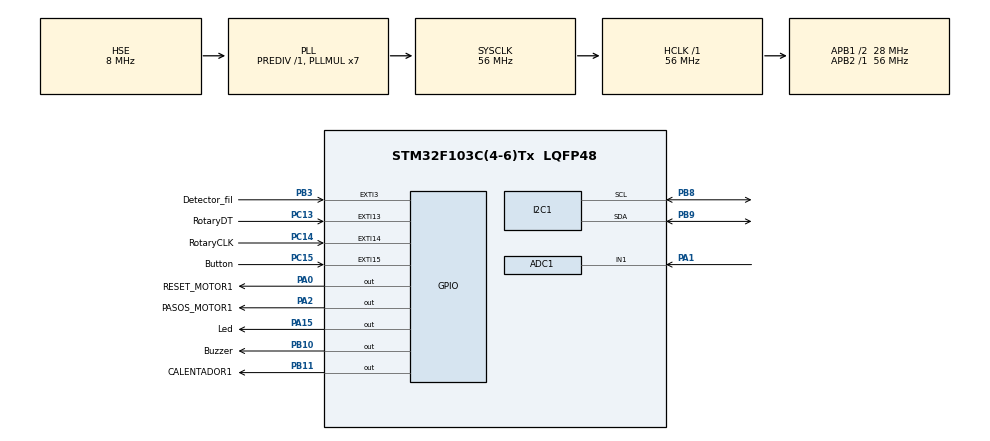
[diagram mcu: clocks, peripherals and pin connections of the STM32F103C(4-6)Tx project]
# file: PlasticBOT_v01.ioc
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Mcu.Family=STM32F1
RCC.PLLSourceVirtual=RCC_PLLSOURCE_HSE
Dma.ADC1.0.Instance=DMA1_Channel1
ADC1.Rank-0\#ChannelRegularConversion=1
PD1-OSC_OUT.Mode=HSE-External-Oscillator
PB11.GPIO_Label=CALENTADOR1
NVIC.EXTI3_IRQn=true\:0\:0\:false\:false\:true\:true\:true
PC13-TAMPER-RTC.Signal=GPXTI13
PD0-OSC_IN.Signal=RCC_OSC_IN
PB3.GPIO_ModeDefaultEXTI=GPIO_MODE_IT_RISING_FALLING
RCC.APB1CLKDivider=RCC_HCLK_DIV2
PC14-OSC32_IN.Signal=GPXTI14
PB11.Signal=GPIO_Output
PC15-OSC32_OUT.GPIO_Label=Button
RCC.SYSCLKSource=RCC_SYSCLKSOURCE_PLLCLK
ProjectManager.StackSize=0x400
PA0-WKUP.GPIO_Label=RESET_MOTOR1
PA0-WKUP.Signal=GPIO_Output
PD1-OSC_OUT.Signal=RCC_OSC_OUT
RCC.ADCPresc=RCC_ADCPCLK2_DIV4
PA13.Signal=SYS_JTMS-SWDIO
PA15.GPIO_Label=Led
Dma.ADC1.0.PeriphDataAlignment=DMA_PDATAALIGN_WORD
ProjectManager.TargetToolchain=STM32CubeIDE
PB10.GPIO_Label=Buzzer
Dma.ADC1.0.Mode=DMA_CIRCULAR
RCC.HCLKFreq_Value=56000000
PB9.Mode=I2C
Dma.ADC1.0.Priority=DMA_PRIORITY_LOW
RCC.APB2TimFreq_Value=56000000
Dma.ADC1.0.Direction=DMA_PERIPH_TO_MEMORY
RCC.USBFreq_Value=56000000
PC15-OSC32_OUT.Signal=GPXTI15
Dma.ADC1.0.MemDataAlignment=DMA_MDATAALIGN_WORD
PA1.Signal=ADCx_IN1
RCC.AHBFreq_Value=56000000
PD0-OSC_IN.Mode=HSE-External-Oscillator
PB10.Signal=GPIO_Output
NVIC.EXTI15_10_IRQn=true\:1\:0\:true\:false\:true\:true\:true
ADC1.Channel-0\#ChannelRegularConversion=ADC_CHANNEL_1
board=custom
PC13-TAMPER-RTC.GPIO_Label=RotaryDT
RCC.PLLMUL=RCC_PLL_MUL7
RCC.APB2Freq_Value=56000000
VP_TIM2_VS_ClockSourceINT.Mode=Internal
PA14.Mode=Serial_Wire
Dma.ADC1.0.PeriphInc=DMA_PINC_DISABLE
NVIC.TIM2_IRQn=true\:0\:0\:false\:false\:true\:true\:true
TIM2.Period=7-1
PA13.Mode=Serial_Wire
Mcu.Name=STM32F103C(4-6)Tx
ADC1.SamplingTime-0\#ChannelRegularConversion=ADC_SAMPLETIME_1CYCLE_5
PA2.Signal=GPIO_Output
PB3.Signal=GPXTI3
RCC.SYSCLKFreq_VALUE=56000000
Mcu.Package=LQFP48
PB9.Signal=I2C1_SDA
TIM2.Prescaler=56000-1
ADC1.master=1
PA2.GPIO_Label=PASOS_MOTOR1
PA14.Signal=SYS_JTCK-SWCLK
Dma.ADC1.0.MemInc=DMA_MINC_ENABLE
PA15.Signal=GPIO_Output
ProjectManager.HeapSize=0x200
NVIC.PriorityGroup=NVIC_PRIORITYGROUP_4
ADC1.NbrOfConversionFlag=1
SH.ADCx_IN1.0=ADC1_IN1,IN1
PB8.Mode=I2C
RCC.APB1TimFreq_Value=56000000
PB8.Signal=I2C1_SCL
PC14-OSC32_IN.GPIO_Label=RotaryCLK
NVIC.DMA1_Channel1_IRQn=true\:0\:0\:false\:false\:true\:false\:true
Dma.Request0=ADC1
RCC.APB1Freq_Value=28000000
PB3.GPIO_Label=Detector_fil

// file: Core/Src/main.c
/* USER CODE BEGIN Header */
/**
  ******************************************************************************
  * @file           : main.c
  * @brief          : Main program body
  ******************************************************************************
  * @attention
  *
  * <h2><center>&copy; Copyright (c) 2022 STMicroelectronics.
  * All rights reserved.</center></h2>
  *
  * This software component is licensed by ST under BSD 3-Clause license,
  * the "License"; You may not use this file except in compliance with the
  * License. You may obtain a copy of the License at:
  *                        opensource.org/licenses/BSD-3-Clause
  *
  ******************************************************************************
  */
/* USER CODE END Header */
#include "main.h"

/* USER CODE BEGIN Includes */
#include "i2c-lcd.h"
#include "stdbool.h"
#include <stdint.h>
#include <stdio.h>
#include "math.h"
/* USER CODE END Includes */

/* USER CODE BEGIN PTD */

//enum Button {Ok, Left, Right, NoPressed};

//typedef enum{
//	APAGADO = 0,
//	VELOCIDAD_1 = 1,
//	VELOCIDAD_2 = 2,
//	VELOCIDAD_3 = 3,
//}vel_Col;

typedef struct PETfilConv{
	//variables de estado
	//bool 	filDetector_state;
	bool 	soundAlarm_state;
	bool 	lightAlarm_state;
	bool 	col_state;
	//variables de temp
	uint32_t currentExtTemp;
	uint32_t previousSetExtTemp;
	uint32_t setExtTemp;
	//variables de control PID
	float_t PID_p;
	float_t PID_i;
	float_t PID_d;
	float_t PID_error;
	float_t previous_error;
	float_t elapsedTime, time, timePrev;
	uint32_t factor_cor;
}PETfilConv;

/* USER CODE END PTD */

/* USER CODE BEGIN PD */
#define	CLEAR_LCD		0x01
#define LINE1_LCD 		0x80|0x00
#define LINE2_LCD		0x80|0x40
#define LINE3_LCD		0x80|0x14
#define LINE4_LCD		0x80|0x54
#define C_LINE1_LCD		0x80|0x13	// direccion para imprimir cursor en linea 1
#define XC_LINE1_LCD	0x80|0x11	// direccion para imprimir X en linea 1
#define C_LINE2_LCD		0x80|0x53	// direccion para imprimir cursor en linea 2
#define XC_LINE2_LCD	0x80|0x51	// direccion para imprimir X en linea 2
#define C_LINE3_LCD		0x80|0x27	// direccion para imprimir cursor en linea 3
#define XC_LINE3_LCD	0x80|0x25	// direccion para imprimir X en linea 3
#define C_LINE4_LCD		0x80|0x67	// direccion para imprimir cursor en linea 4
#define XC_LINE4_LCD	0x80|0x65	// direccion para imprimir X en linea 4
#define LINES			4

/* USER CODE END PD */

ADC_HandleTypeDef hadc1;
DMA_HandleTypeDef hdma_adc1;

I2C_HandleTypeDef hi2c1;

TIM_HandleTypeDef htim2;

/* USER CODE BEGIN PV */
/*
pantalla 0 - pantalla de trabajo
pantalla 11 - menu principal (parte 1)
pantalla 12 - menu principal (parte 2)
pantalla 2 - sub menu EXTRUSORES
pantalla 3 - sub menu COLECTORES fil.
pantalla 31 - sub menu selector velocidad colector fil.
pantalla 4 - sub menu ALARMAS
pantalla 5 - sub menu HISTORIAL
pantalla 6 - sub menu ACERCA DE...(parte 1)
pantalla 7 - sub menu ACERCA DE...(parte 2)
pantalla 8 - sub menu Seteo temp ExtrusorX
*/
#define pantallaWorkingScreen 				0
#define pantallaMainMenu_part1 				11
#define pantallaMainMenu_part2 				12
#define pantallaSubMenuExtrusores 			2
#define pantallaSubMenuColectoresFil 		3
#define pantallaSubMenuSelVelocidadColFil 	31
#define pantallaSubMenuAlarmas				4
#define pantallaSubMenuHistorial			5
#define pantallaSubMenuAcercaDe_part1		6
#define pantallaSubMenuAcercaDe_part2		7
#define pantallaSubmenuSetTempExt			8

#define cont_item_PrinMenu				1
#define cont_item_SubMenuExtrusores		2
#define cont_item_SubMenuColectores		3
#define cont_item_SubMenuAlarmas		4
#define cont_item_SubMenuHistorial		5
#define cont_item_SubMenuAcercaDe		6
#define cont_item_SubMenuSelVelCol		7

#define cantItemsPrinMenu 				6
#define cantItemsSubMenuExtrusores 		2
#define cantItemsSubMenuColectores 		2
#define cantItemsSubMenuAlarmas			3
#define cantItemsSubMenuHistorial		3
#define cantItemsSubMenuAcercaDe		2
#define cantItemsSubMenuSelVelCol		4
#define n_pantallas						8

//uint32_t previousTempExt = 0;
//uint32_t previousSetTempExt = 0;	//static dentro de updateDataGUI?
// uint32_t previousTick = 0;			//static dentro de ControlPID?
// uint32_t currentTick = 0;

/*
indexes[0] -> NO SE UTILIZA
indexes[1] -> Guarda Nº item seleccionado en menu principal
indexes[2] -> Guarda Nº item seleccionado en submenu Extrusores
indexes[3] -> Guarda Nº item seleccionado en submenu Colectores
indexes[4] -> Guarda Nº item seleccionado en submenu Alarmas
indexes[5] -> Guarda Nº item seleccionado en submenu Historial
indexes[6] -> Guarda Nº item seleccionado en submenu "Acerca de..."
indexes[7] -> Guarda Nº item seleccionado en submenu SelVelCol
*/

//+++++++++++++++ variables, constantes y defines de control PID +++++++++++++

#define termistorNominalRes 100000
#define termistorNominalTemp 25
#define termistorBValue 3950
#define voltageDividerResistor 100000
#define N_SAMPLES_ADC 16
#define	CLEAR_LCD	0x01

/* USER CODE END PV */

void SystemClock_Config(void);
static void MX_GPIO_Init(void);
static void MX_DMA_Init(void);
static void MX_ADC1_Init(void);
static void MX_I2C1_Init(void);
static void MX_TIM2_Init(void);
/* USER CODE BEGIN PFP */
void PetConv_Init(PETfilConv *_petFilConv);
void PresentacionLCD(void);
void updateDataGUI(uint32_t *_indexes , uint32_t *_btn , PETfilConv *_petFilConv , uint32_t *currentScreen , uint32_t *_vel_col);
void updateLCD(PETfilConv *_petFilConv , uint32_t *currentScreen);
void printScreenSettingTemp(PETfilConv *_petFilConv);
void printSettingTemp(PETfilConv *_petFilConv);
void printscreenWorking(PETfilConv *_petFilConv);
void printCurrentTemp(PETfilConv *_petFilConv);
void updateCursor(uint32_t *_indexes , PETfilConv *_petFilConv , uint32_t *currentScreen , uint32_t *_vel_col);
void printX(uint8_t i);
void printCursor(uint8_t index);
void clearAllCursor(void);
void printScreen(char *screen[]);
void clearScreen(void);
void ControlMotor(PETfilConv *_petFilConv);
float_t getTemp(void);
//void controlPID(PETfilConv *_petFilConv);
void Control_ON_OFF(PETfilConv *_petFilConv);
void ControlAlarms(bool *_sensorFil , PETfilConv *_petFilConv);
void ActivaAlarmaLuminica(void);
void ActivaAlarmaSonora(void);
void DesactivaAlarmas(void);

/* USER CODE END PFP */

/* USER CODE BEGIN 0 */

//+++++++++++ variables usadas en control PID ++++++++++++

//variables and/temp
uint32_t bufferDMA;		//static dentro de getTemp()?
uint32_t tempConv;		//static dentro de getTemp()?
uint32_t i = 0;
float_t Vsupply = 3.3;
float_t Vout;
float_t R_NTC;
float_t B_param = 3950;
float_t T0 = 298.15;
float_t Temp_K;
//float_t Temp_C;
uint32_t tempCint;

//variables control PID
//uint32_t PWM_pin;	//esta variable seria el pin por donde sale el PWM controlado
//float_t temperature_read; //esta variable vendria a ser la que guarda el resultado de getTemp()
//float_t set_temperature = 100;
//float_t PID_error = 0;
//float_t previous_error = 0;
//float_t elapsedTime, Time, timePrev;
//uint32_t PID_value = 0;
//uint32_t factor_cor = 20;

//PID constants
#define kp  9.1
#define ki  1.5		//0.3 - 0.8 - 1.5
#define kd  2.3		//1.8 - 2.3

//Rotative Encoder constants
#define NoPressed	0
#define Ok			1
#define Left		2
#define Right		3

//Motor colector constants
#define APAGADO		0
#define VELOCIDAD_1	1
#define VELOCIDAD_2 2
#define VELOCIDAD_3	3

uint32_t g_btnPressed = Ok;				//variable de control ENCODER ROTATIVO
uint32_t g_velocidad_Col1 = APAGADO;		//variable de control VELOCIDAD DE MOTOR
bool g_alarmFil = false;		//variable de control de alarma por faltante de filamento
/* USER CODE END 0 */

int main(void)
{
  /* USER CODE BEGIN 1 */
	static uint32_t previousTick = 0;
	uint32_t currentTick = 0;
	static uint32_t currentScreen = pantallaWorkingScreen;
	static PETfilConv PETfilConv1;
	static uint32_t indexes[n_pantallas] = {0,0,0,0,0,0,0,0};
  /* USER CODE END 1 */

  /* MCU Configuration--------------------------------------------------------*/

  /* Reset of all peripherals, Initializes the Flash interface and the Systick. */
  HAL_Init();

  /* Configure the system clock */
  SystemClock_Config();

  /* Initialize all configured peripherals */
  MX_GPIO_Init();
  MX_DMA_Init();
  MX_ADC1_Init();
  MX_I2C1_Init();
  MX_TIM2_Init();
  /* USER CODE BEGIN 2 */
  lcd_init();
  PresentacionLCD();
  PetConv_Init(&PETfilConv1);
  //HAL_TIM_PWM_Start(&htim1, TIM_CHANNEL_1);
  HAL_TIM_Base_Start_IT(&htim2);

  /* USER CODE END 2 */

  /* Infinite loop */
  /* USER CODE BEGIN WHILE */
  while (1)
  {

	  if(g_btnPressed != NoPressed)
	  {
		  updateDataGUI(indexes,&g_btnPressed,&PETfilConv1,&currentScreen,&g_velocidad_Col1);
		  updateLCD(&PETfilConv1,&currentScreen);
		  updateCursor(indexes,&PETfilConv1,&currentScreen,&g_velocidad_Col1);
		  g_btnPressed = NoPressed;
	  }

	  //Control_ON_OFF(&PETfilConv1);
	  ControlAlarms(&g_alarmFil,&PETfilConv1);
	  currentTick = HAL_GetTick();
	  if((currentTick - previousTick > 1000) && (currentScreen == pantallaWorkingScreen))
	  {
		  printCurrentTemp(&PETfilConv1);
		  previousTick = currentTick;
	  }

    /* USER CODE END WHILE */

  }
}

void SystemClock_Config(void)
{
  RCC_OscInitTypeDef RCC_OscInitStruct = {0};
  RCC_ClkInitTypeDef RCC_ClkInitStruct = {0};
  RCC_PeriphCLKInitTypeDef PeriphClkInit = {0};

  /** Initializes the RCC Oscillators according to the specified parameters
  * in the RCC_OscInitTypeDef structure.
  */
  RCC_OscInitStruct.OscillatorType = RCC_OSCILLATORTYPE_HSE;
  RCC_OscInitStruct.HSEState = RCC_HSE_ON;
  RCC_OscInitStruct.HSEPredivValue = RCC_HSE_PREDIV_DIV1;
  RCC_OscInitStruct.HSIState = RCC_HSI_ON;
  RCC_OscInitStruct.PLL.PLLState = RCC_PLL_ON;
  RCC_OscInitStruct.PLL.PLLSource = RCC_PLLSOURCE_HSE;
  RCC_OscInitStruct.PLL.PLLMUL = RCC_PLL_MUL7;
  if (HAL_RCC_OscConfig(&RCC_OscInitStruct) != HAL_OK)
  {
    Error_Handler();
  }
  /** Initializes the CPU, AHB and APB buses clocks
  */
  RCC_ClkInitStruct.ClockType = RCC_CLOCKTYPE_HCLK|RCC_CLOCKTYPE_SYSCLK
                              |RCC_CLOCKTYPE_PCLK1|RCC_CLOCKTYPE_PCLK2;
  RCC_ClkInitStruct.SYSCLKSource = RCC_SYSCLKSOURCE_PLLCLK;
  RCC_ClkInitStruct.AHBCLKDivider = RCC_SYSCLK_DIV1;
  RCC_ClkInitStruct.APB1CLKDivider = RCC_HCLK_DIV2;
  RCC_ClkInitStruct.APB2CLKDivider = RCC_HCLK_DIV1;

  if (HAL_RCC_ClockConfig(&RCC_ClkInitStruct, FLASH_LATENCY_2) != HAL_OK)
  {
    Error_Handler();
  }
  PeriphClkInit.PeriphClockSelection = RCC_PERIPHCLK_ADC;
  PeriphClkInit.AdcClockSelection = RCC_ADCPCLK2_DIV4;
  if (HAL_RCCEx_PeriphCLKConfig(&PeriphClkInit) != HAL_OK)
  {
    Error_Handler();
  }
}

static void MX_ADC1_Init(void)
{

  ADC_ChannelConfTypeDef sConfig = {0};

  /** Common config
  */
  hadc1.Instance = ADC1;
  hadc1.Init.ScanConvMode = ADC_SCAN_DISABLE;
  hadc1.Init.ContinuousConvMode = DISABLE;
  hadc1.Init.DiscontinuousConvMode = DISABLE;
  hadc1.Init.ExternalTrigConv = ADC_SOFTWARE_START;
  hadc1.Init.DataAlign = ADC_DATAALIGN_RIGHT;
  hadc1.Init.NbrOfConversion = 1;
  if (HAL_ADC_Init(&hadc1) != HAL_OK)
  {
    Error_Handler();
  }
  /** Configure Regular Channel
  */
  sConfig.Channel = ADC_CHANNEL_1;
  sConfig.Rank = ADC_REGULAR_RANK_1;
  sConfig.SamplingTime = ADC_SAMPLETIME_1CYCLE_5;
  if (HAL_ADC_ConfigChannel(&hadc1, &sConfig) != HAL_OK)
  {
    Error_Handler();
  }

}

static void MX_I2C1_Init(void)
{

  hi2c1.Instance = I2C1;
  hi2c1.Init.ClockSpeed = 100000;
  hi2c1.Init.DutyCycle = I2C_DUTYCYCLE_2;
  hi2c1.Init.OwnAddress1 = 0;
  hi2c1.Init.AddressingMode = I2C_ADDRESSINGMODE_7BIT;
  hi2c1.Init.DualAddressMode = I2C_DUALADDRESS_DISABLE;
  hi2c1.Init.OwnAddress2 = 0;
  hi2c1.Init.GeneralCallMode = I2C_GENERALCALL_DISABLE;
  hi2c1.Init.NoStretchMode = I2C_NOSTRETCH_DISABLE;
  if (HAL_I2C_Init(&hi2c1) != HAL_OK)
  {
    Error_Handler();
  }

}

static void MX_TIM2_Init(void)
{

  TIM_ClockConfigTypeDef sClockSourceConfig = {0};
  TIM_MasterConfigTypeDef sMasterConfig = {0};

  htim2.Instance = TIM2;
  htim2.Init.Prescaler = 56000-1;
  htim2.Init.CounterMode = TIM_COUNTERMODE_UP;
  htim2.Init.Period = 7-1;
  htim2.Init.ClockDivision = TIM_CLOCKDIVISION_DIV1;
  htim2.Init.AutoReloadPreload = TIM_AUTORELOAD_PRELOAD_DISABLE;
  if (HAL_TIM_Base_Init(&htim2) != HAL_OK)
  {
    Error_Handler();
  }
  sClockSourceConfig.ClockSource = TIM_CLOCKSOURCE_INTERNAL;
  if (HAL_TIM_ConfigClockSource(&htim2, &sClockSourceConfig) != HAL_OK)
  {
    Error_Handler();
  }
  sMasterConfig.MasterOutputTrigger = TIM_TRGO_RESET;
  sMasterConfig.MasterSlaveMode = TIM_MASTERSLAVEMODE_DISABLE;
  if (HAL_TIMEx_MasterConfigSynchronization(&htim2, &sMasterConfig) != HAL_OK)
  {
    Error_Handler();
  }

}

static void MX_DMA_Init(void)
{

  /* DMA controller clock enable */
  __HAL_RCC_DMA1_CLK_ENABLE();

  /* DMA interrupt init */
  /* DMA1_Channel1_IRQn interrupt configuration */
  HAL_NVIC_SetPriority(DMA1_Channel1_IRQn, 0, 0);
  HAL_NVIC_EnableIRQ(DMA1_Channel1_IRQn);

}

static void MX_GPIO_Init(void)
{
  GPIO_InitTypeDef GPIO_InitStruct = {0};

  /* GPIO Ports Clock Enable */
  __HAL_RCC_GPIOC_CLK_ENABLE();
  __HAL_RCC_GPIOD_CLK_ENABLE();
  __HAL_RCC_GPIOA_CLK_ENABLE();
  __HAL_RCC_GPIOB_CLK_ENABLE();

  /*Configure GPIO pin Output Level */
  HAL_GPIO_WritePin(GPIOA, RESET_MOTOR1_Pin|PASOS_MOTOR1_Pin|Led_Pin, GPIO_PIN_RESET);

  /*Configure GPIO pin Output Level */
  HAL_GPIO_WritePin(GPIOB, Buzzer_Pin|CALENTADOR1_Pin, GPIO_PIN_RESET);

  /*Configure GPIO pins : RotaryDT_Pin RotaryCLK_Pin Button_Pin */
  GPIO_InitStruct.Pin = RotaryDT_Pin|RotaryCLK_Pin|Button_Pin;
  GPIO_InitStruct.Mode = GPIO_MODE_IT_RISING;
  GPIO_InitStruct.Pull = GPIO_NOPULL;
  HAL_GPIO_Init(GPIOC, &GPIO_InitStruct);

  /*Configure GPIO pins : RESET_MOTOR1_Pin PASOS_MOTOR1_Pin Led_Pin */
  GPIO_InitStruct.Pin = RESET_MOTOR1_Pin|PASOS_MOTOR1_Pin|Led_Pin;
  GPIO_InitStruct.Mode = GPIO_MODE_OUTPUT_PP;
  GPIO_InitStruct.Pull = GPIO_NOPULL;
  GPIO_InitStruct.Speed = GPIO_SPEED_FREQ_LOW;
  HAL_GPIO_Init(GPIOA, &GPIO_InitStruct);

  /*Configure GPIO pins : Buzzer_Pin CALENTADOR1_Pin */
  GPIO_InitStruct.Pin = Buzzer_Pin|CALENTADOR1_Pin;
  GPIO_InitStruct.Mode = GPIO_MODE_OUTPUT_PP;
  GPIO_InitStruct.Pull = GPIO_NOPULL;
  GPIO_InitStruct.Speed = GPIO_SPEED_FREQ_LOW;
  HAL_GPIO_Init(GPIOB, &GPIO_InitStruct);

  /*Configure GPIO pin : Detector_fil_Pin */
  GPIO_InitStruct.Pin = Detector_fil_Pin;
  GPIO_InitStruct.Mode = GPIO_MODE_IT_RISING_FALLING;
  GPIO_InitStruct.Pull = GPIO_NOPULL;
  HAL_GPIO_Init(Detector_fil_GPIO_Port, &GPIO_InitStruct);

  /* EXTI interrupt init*/
  HAL_NVIC_SetPriority(EXTI3_IRQn, 0, 0);
  HAL_NVIC_EnableIRQ(EXTI3_IRQn);

  HAL_NVIC_SetPriority(EXTI15_10_IRQn, 1, 0);
  HAL_NVIC_EnableIRQ(EXTI15_10_IRQn);

}

/* USER CODE BEGIN 4 */

void PresentacionLCD(void)
{
 char *screenStart[] = {
		"     PlasticBOT     ",
		"        v0.1        ",
		"                    ",
		"   CFP nro 8 SMATA  "
	};

	clearScreen();
	HAL_Delay(100);
	printScreen(screenStart);
	HAL_Delay(4000);
	clearScreen();
}

void PetConv_Init(PETfilConv *_petFilConv)
{
	//_petFilConv -> filDetector_state = false;	//false = detector de filamento DESHABILITADO | true = detector de filamento HABILITADO
	_petFilConv -> lightAlarm_state = false;	//false = alarma luminica DESHABILITADA | true = alarma luminica HABILITADA
	_petFilConv -> soundAlarm_state = false;	//false = alarma sonora DESHABILITADA | true = alarma sonora HABILITADA
	_petFilConv -> col_state = false;			//false = motor del colector DESHABILITADO | true = motor del colector HABILITADO
	//_petFilConv -> velocidad_Col = APAGADO;		// APAGADO = 0 mm/min | VELOCIDAD 1 = 300 mm/min | | VELOCIDAD 2 = 400 mm/min | VELOCIDAD 3 = 500 mm/min
	_petFilConv -> currentExtTemp = 0;
	_petFilConv -> previousSetExtTemp = 25;
	_petFilConv -> setExtTemp = 25;
	_petFilConv -> PID_d = 0;
	_petFilConv -> PID_error = 0;
	_petFilConv -> PID_i = 0;
	_petFilConv -> PID_p = 0;
	_petFilConv -> elapsedTime = 0;
	_petFilConv -> factor_cor = 20;
	_petFilConv -> previous_error = 0;
	_petFilConv -> time = HAL_GetTick();
	_petFilConv -> timePrev = 0;

	//deshabilito MOTOR COL 1
	HAL_GPIO_WritePin(GPIOA, RESET_MOTOR1_Pin, GPIO_PIN_RESET);
	//deshabilito CALENTADOR 1
	HAL_GPIO_WritePin(GPIOB, CALENTADOR1_Pin, GPIO_PIN_SET);
}

void HAL_GPIO_EXTI_Callback(uint16_t GPIO_Pin)
{
	static uint32_t previousTick;
	uint32_t currentTick = HAL_GetTick();
	//Rotate encoder CCKW or CKW
	if(currentTick - previousTick > 300)
	{
		if(GPIO_Pin == RotaryDT_Pin)			g_btnPressed = Left;
		else if(GPIO_Pin == RotaryCLK_Pin)		g_btnPressed = Right;
		else if(GPIO_Pin == Button_Pin)			g_btnPressed = Ok;
		else if(GPIO_Pin == Detector_fil_Pin)
		{
			if(HAL_GPIO_ReadPin(GPIOB, Detector_fil_Pin))
			{
				g_alarmFil = false;
			}
			else
			{
				g_alarmFil = true;
			}
		}

		previousTick = currentTick;
	}
}

void ControlAlarms(bool *_sensFil , PETfilConv *_petFilConv)
{
	if(*_sensFil)
	{
		if(_petFilConv -> lightAlarm_state)
		{
			ActivaAlarmaLuminica();
		}

		if(_petFilConv -> soundAlarm_state)
		{
			ActivaAlarmaSonora();
		}
	}

	else
	{
		DesactivaAlarmas();
	}
}

void ActivaAlarmaLuminica(void)
{
	HAL_GPIO_WritePin(GPIOA, Led_Pin, GPIO_PIN_SET);
}

void ActivaAlarmaSonora(void)
{
	HAL_GPIO_WritePin(GPIOB, Buzzer_Pin, GPIO_PIN_SET);
}

void DesactivaAlarmas(void)
{
	HAL_GPIO_WritePin(GPIOA, Led_Pin, GPIO_PIN_RESET);
	HAL_GPIO_WritePin(GPIOB, Buzzer_Pin, GPIO_PIN_RESET);
}

void updateDataGUI(uint32_t *_indexes , uint32_t *_btn , PETfilConv *_petFilConv , uint32_t *currentScreen , uint32_t *_vel_col)
{
	if(*_btn != NoPressed)
	{
			if(*_btn == Ok)
			{
				switch(*currentScreen)
				{
					case pantallaWorkingScreen:	//pantalla de trabajo
						*currentScreen = pantallaMainMenu_part1;
						_indexes[cont_item_PrinMenu] = 0;
					break;

					case pantallaMainMenu_part1: //menu principal (parte 1)
						if(_indexes[cont_item_PrinMenu] == 0) *currentScreen = pantallaWorkingScreen;
						else if(_indexes[cont_item_PrinMenu] == 1) *currentScreen = pantallaSubMenuExtrusores;
						else if(_indexes[cont_item_PrinMenu] == 2) *currentScreen = pantallaSubMenuColectoresFil;
						else if(_indexes[cont_item_PrinMenu] == 3) *currentScreen = pantallaSubMenuAlarmas;
					break;

					case pantallaMainMenu_part2: //menu principal (parte 2)
						if(_indexes[cont_item_PrinMenu] == 4) *currentScreen = pantallaSubMenuHistorial;
						else if(_indexes[cont_item_PrinMenu] == 5) *currentScreen = pantallaSubMenuAcercaDe_part1;
					break;

					case pantallaSubMenuExtrusores: //sub EXTRUSORES
						if(_indexes[cont_item_SubMenuExtrusores] == 0) *currentScreen = pantallaMainMenu_part1;
						else if (_indexes[cont_item_SubMenuExtrusores] == 1) *currentScreen = pantallaSubmenuSetTempExt;
					break;

					case pantallaSubMenuColectoresFil:	//sub COLECTORES fil.
						if(_indexes[cont_item_SubMenuColectores] == 0) *currentScreen = pantallaMainMenu_part1;
						else if(_indexes[cont_item_SubMenuColectores] == 1)	*currentScreen = pantallaSubMenuSelVelocidadColFil;
					break;

					case pantallaSubMenuAlarmas:	//sub menu ALARMAS
						if(_indexes[cont_item_SubMenuAlarmas] == 0) *currentScreen = pantallaMainMenu_part1;
						else if(_indexes[cont_item_SubMenuAlarmas] == 1)
						{
							if(_petFilConv -> lightAlarm_state == false)	_petFilConv -> lightAlarm_state = true;
							else	_petFilConv -> lightAlarm_state = false;
							//changeAlarms = true;
						}
						else if(_indexes[cont_item_SubMenuAlarmas] == 2)
						{
							if(_petFilConv -> soundAlarm_state == false)	_petFilConv -> soundAlarm_state = true;
							else	_petFilConv -> soundAlarm_state = false;
							//changeAlarms = true;
						}

						//if((_petFilConv -> soundAlarm_state == true)||(_petFilConv -> lightAlarm_state == true))	_petFilConv -> filDetector_state = true;
						//else _petFilConv -> filDetector_state = false;
					break;

					case pantallaSubMenuHistorial:	//sub HISTORIAL
						if(_indexes[cont_item_SubMenuHistorial] == 0) *currentScreen = pantallaMainMenu_part2;
						else{} //borra el valor acumulador del extrusor
					break;

					case pantallaSubMenuSelVelocidadColFil:	//sub selector velocidad

						if(_indexes[cont_item_SubMenuSelVelCol] == 0)
						{
							if(*_vel_col != APAGADO)
							{
								*_vel_col = APAGADO;
								_petFilConv -> col_state = false;
								ControlMotor(_petFilConv);
							}
						}

						else if(_indexes[cont_item_SubMenuSelVelCol] == 1)
						{
							if(*_vel_col != VELOCIDAD_1)
							{
								*_vel_col = VELOCIDAD_1;
								_petFilConv -> col_state = true;
								ControlMotor(_petFilConv);
							}
						}

						else if(_indexes[cont_item_SubMenuSelVelCol] == 2)
						{
							if(*_vel_col != VELOCIDAD_2)
							{
								*_vel_col = VELOCIDAD_2;
								_petFilConv -> col_state = true;
								ControlMotor(_petFilConv);
							}
						}
						else if(_indexes[cont_item_SubMenuSelVelCol] == 3)
						{
							if(*_vel_col != VELOCIDAD_3)
							{
								*_vel_col = VELOCIDAD_3;
								_petFilConv -> col_state = true;
								ControlMotor(_petFilConv);
							}
						}

						*currentScreen = pantallaSubMenuColectoresFil;
					break;

					case pantallaSubMenuAcercaDe_part1:	//sub menu ACERCA DE...
						*currentScreen = pantallaMainMenu_part2;
					break;

					case pantallaSubMenuAcercaDe_part2:	//sub menu ACERCA DE...
						*currentScreen = pantallaMainMenu_part2;
					break;

					case pantallaSubmenuSetTempExt:	//menu seteo de temperatura COLECTORES
						_petFilConv -> setExtTemp = _petFilConv -> previousSetExtTemp;
						*currentScreen = pantallaSubMenuExtrusores;
					break;

					default: break;
				}
			}

			else if(*_btn == Left)
			{
					switch(*currentScreen)
					{
						case pantallaWorkingScreen:	//pantalla de trabajo
							//NADA
						break;

						case pantallaMainMenu_part1:
							if(_indexes[cont_item_PrinMenu] == 0) _indexes[cont_item_PrinMenu] = 0;
							else	_indexes[cont_item_PrinMenu]--;
						break;

						case pantallaMainMenu_part2:
							if(_indexes[cont_item_PrinMenu] <= 4)
							{
								*currentScreen = pantallaMainMenu_part1;
								_indexes[cont_item_PrinMenu] = 3;
							}
							else	_indexes[cont_item_PrinMenu]--;
						break;

						case pantallaSubMenuSelVelocidadColFil:
							if(_indexes[cont_item_SubMenuSelVelCol] == 0) _indexes[cont_item_SubMenuSelVelCol] = 0;
							else	_indexes[cont_item_SubMenuSelVelCol]--;
						break;

						case pantallaSubMenuAcercaDe_part2:	*currentScreen = pantallaSubMenuAcercaDe_part1;
						break;

						case pantallaSubmenuSetTempExt:

						//	if(_petFilConv -> setExtTemp == 0)	_petFilConv -> setExtTemp = 0;
						//	else _petFilConv -> setExtTemp--;
							if(_petFilConv -> previousSetExtTemp == 0) _petFilConv -> previousSetExtTemp = 0;
							else _petFilConv -> previousSetExtTemp--;
						break;

						default:
							if(_indexes[*currentScreen] == 0) _indexes[*currentScreen] = 0;
							else _indexes[*currentScreen]--;
					}
			}

			else if (*_btn == Right)
			{
					switch(*currentScreen)
					{
						case pantallaWorkingScreen:	//pantalla de trabajo
							//NADA
						break;

						case pantallaMainMenu_part1:
							if(_indexes[cont_item_PrinMenu] >= 3)
							{
								*currentScreen = pantallaMainMenu_part2;
								_indexes[cont_item_PrinMenu] = 4;
							}
							else	_indexes[cont_item_PrinMenu]++;
						break;

						case pantallaMainMenu_part2:
							if(_indexes[cont_item_PrinMenu] >= 5) _indexes[cont_item_PrinMenu] = 5;
							else	_indexes[cont_item_PrinMenu]++;
						break;

						case pantallaSubMenuExtrusores:
							if(_indexes[*currentScreen] == (cantItemsSubMenuExtrusores - 1)) _indexes[*currentScreen] = cantItemsSubMenuExtrusores - 1;
							else _indexes[*currentScreen]++;
						break;

						case pantallaSubMenuColectoresFil:
							if(_indexes[*currentScreen] == (cantItemsSubMenuColectores - 1)) _indexes[*currentScreen] = cantItemsSubMenuColectores - 1;
							else _indexes[*currentScreen]++;
						break;

						case pantallaSubMenuSelVelocidadColFil:
							if(_indexes[cont_item_SubMenuSelVelCol] >= 3) _indexes[cont_item_PrinMenu] = 3;
							else	_indexes[cont_item_SubMenuSelVelCol]++;
						break;

						case pantallaSubMenuAlarmas:
							if(_indexes[*currentScreen] == (cantItemsSubMenuAlarmas - 1)) _indexes[*currentScreen] = cantItemsSubMenuAlarmas - 1;
							else _indexes[*currentScreen]++;
						break;

						case pantallaSubMenuHistorial:
							if(_indexes[*currentScreen] == (cantItemsSubMenuHistorial - 1)) _indexes[*currentScreen] = cantItemsSubMenuHistorial - 1;
							else _indexes[*currentScreen]++;
						break;

						case pantallaSubMenuAcercaDe_part1: *currentScreen = pantallaSubMenuAcercaDe_part2;
						break;

						case pantallaSubmenuSetTempExt:	//menu seteo de temperatura COLECTORES

							//if(_petFilConv -> setExtTemp == 250) _petFilConv -> setExtTemp = 250;
							//else _petFilConv -> setExtTemp++;	//Temp++
							if(_petFilConv -> previousSetExtTemp == 250) _petFilConv -> previousSetExtTemp = 250;
							else _petFilConv -> previousSetExtTemp++;	//Temp++
						break;

						default: break;
					}
			}
	}
}

/*
void updateDataGUI(PETfilConv *_petFilConv)
{
	if(btnPressed != NoPressed)
	{
		switch(btnPressed)
		{
			case Ok:
				switch(currentScreen)
				{
					case pantallaWorkingScreen:	//pantalla de trabajo
						currentScreen = pantallaMainMenu_part1;
						indexes[cont_item_PrinMenu] = 0;
					break;

					case pantallaMainMenu_part1: //menu principal (parte 1)
						if(indexes[cont_item_PrinMenu] == 0) currentScreen = pantallaWorkingScreen;
						else if(indexes[cont_item_PrinMenu] == 1) currentScreen = pantallaSubMenuExtrusores;
						else if(indexes[cont_item_PrinMenu] == 2) currentScreen = pantallaSubMenuColectoresFil;
						else if(indexes[cont_item_PrinMenu] == 3) currentScreen = pantallaSubMenuAlarmas;
					break;

					case pantallaMainMenu_part2: //menu principal (parte 2)
						if(indexes[cont_item_PrinMenu] == 4) currentScreen = pantallaSubMenuHistorial;
						else if(indexes[cont_item_PrinMenu] == 5) currentScreen = pantallaSubMenuAcercaDe_part1;
					break;

					case pantallaSubMenuExtrusores: //sub EXTRUSORES
						if(indexes[cont_item_SubMenuExtrusores] == 0) currentScreen = pantallaMainMenu_part1;
						else if (indexes[cont_item_SubMenuExtrusores] == 1) currentScreen = pantallaSubmenuSetTempExt;
					break;

					case pantallaSubMenuColectoresFil:	//sub COLECTORES fil.
						if(indexes[cont_item_SubMenuColectores] == 0) currentScreen = pantallaMainMenu_part1;
						else if(indexes[cont_item_SubMenuColectores] == 1)	currentScreen = pantallaSubMenuSelVelocidadColFil;
					break;

					case pantallaSubMenuAlarmas:	//sub menu ALARMAS
						if(indexes[cont_item_SubMenuAlarmas] == 0) currentScreen = pantallaMainMenu_part1;
						else if(indexes[cont_item_SubMenuAlarmas] == 1)
						{
							if(_petFilConv -> lightAlarm_state == false)	_petFilConv -> lightAlarm_state = true;
							else	_petFilConv ->lightAlarm_state = false;
							changeAlarms = true;
						}
						else if(indexes[cont_item_SubMenuAlarmas] == 2)
						{
							if(_petFilConv -> soundAlarm_state == false)	_petFilConv -> soundAlarm_state = true;
							else	_petFilConv -> soundAlarm_state = false;
							changeAlarms = true;
						}

						if((_petFilConv -> soundAlarm_state == true)||(_petFilConv -> lightAlarm_state == true))	_petFilConv -> filDetector_state = true;
						else _petFilConv -> filDetector_state = false;
					break;

					case pantallaSubMenuHistorial:	//sub HISTORIAL
						if(indexes[cont_item_SubMenuHistorial] == 0) currentScreen = pantallaMainMenu_part2;
						else{} //borra el valor acumulador del extrusor
					break;

					case pantallaSubMenuSelVelocidadColFil:	//sub selector velocidad

						if(indexes[cont_item_SubMenuSelVelCol] == 0)
						{
							if(_petFilConv -> velocidad_Col != APAGADO)
							{
								_petFilConv -> velocidad_Col = APAGADO;
								_petFilConv -> col_state = false;
								ControlMotor();
							}
						}

						else if(indexes[cont_item_SubMenuSelVelCol] == 1)
						{
							if(_petFilConv -> velocidad_Col != VELOCIDAD_1)
							{
								_petFilConv -> velocidad_Col = VELOCIDAD_1;
								_petFilConv -> col_state = true;
								ControlMotor();
							}
						}

						else if(indexes[cont_item_SubMenuSelVelCol] == 2)
						{
							if(_petFilConv -> velocidad_Col != VELOCIDAD_2)
							{
								_petFilConv -> velocidad_Col = VELOCIDAD_2;
								_petFilConv -> col_state = true;
								ControlMotor();
							}
						}
						else if(indexes[cont_item_SubMenuSelVelCol] == 3)
						{
							if(_petFilConv -> velocidad_Col != VELOCIDAD_3)
							{
								_petFilConv -> velocidad_Col = VELOCIDAD_3;
								_petFilConv -> col_state = true;
								ControlMotor();
							}
						}

						currentScreen = pantallaSubMenuColectoresFil;
					break;

					case pantallaSubMenuAcercaDe_part1:	//sub menu ACERCA DE...
						currentScreen = pantallaMainMenu_part2;
					break;

					case pantallaSubMenuAcercaDe_part2:	//sub menu ACERCA DE...
						currentScreen = pantallaMainMenu_part2;
					break;

					case pantallaSubmenuSetTempExt:	//menu seteo de temperatura COLECTORES
						currentScreen = pantallaSubMenuExtrusores;
					break;
				}
				break;

				case Left:
					switch(currentScreen)
					{
						case pantallaWorkingScreen:	//pantalla de trabajo
							//NADA
						break;

						case pantallaMainMenu_part1:
							if(indexes[cont_item_PrinMenu] == 0) indexes[cont_item_PrinMenu] = 0;
							else	indexes[cont_item_PrinMenu]--;
						break;

						case pantallaMainMenu_part2:
							if(indexes[cont_item_PrinMenu] <= 4)
							{
								currentScreen = pantallaMainMenu_part1;
								indexes[cont_item_PrinMenu] = 3;
							}
							else	indexes[cont_item_PrinMenu]--;
						break;

						case pantallaSubMenuSelVelocidadColFil:
							if(indexes[cont_item_SubMenuSelVelCol] == 0) indexes[cont_item_SubMenuSelVelCol] = 0;
							else	indexes[cont_item_SubMenuSelVelCol]--;
						break;

						case pantallaSubMenuAcercaDe_part2:	currentScreen = pantallaSubMenuAcercaDe_part1;
						break;

						case pantallaSubmenuSetTempExt:
							if(_petFilConv -> setExtTemp == 0)	_petFilConv -> setExtTemp = 0;
							else _petFilConv -> setExtTemp--;
						break;

						default:
							if(indexes[currentScreen] == 0) indexes[currentScreen] = 0;
							else indexes[currentScreen]--;
					}
				break;

				case Right:
					switch(currentScreen)
					{
						case pantallaWorkingScreen:	//pantalla de trabajo
							//NADA
						break;

						case pantallaMainMenu_part1:
							if(indexes[cont_item_PrinMenu] >= 3)
							{
								currentScreen = pantallaMainMenu_part2;
								indexes[cont_item_PrinMenu] = 4;
							}
							else	indexes[cont_item_PrinMenu]++;
						break;

						case pantallaMainMenu_part2:
							if(indexes[cont_item_PrinMenu] >= 5) indexes[cont_item_PrinMenu] = 5;
							else	indexes[cont_item_PrinMenu]++;
						break;

						case pantallaSubMenuExtrusores:
							if(indexes[currentScreen] == (cantItemsSubMenuExtrusores - 1)) indexes[currentScreen] = cantItemsSubMenuExtrusores - 1;
							else indexes[currentScreen]++;
						break;

						case pantallaSubMenuColectoresFil:
							if(indexes[currentScreen] == (cantItemsSubMenuColectores - 1)) indexes[currentScreen] = cantItemsSubMenuColectores - 1;
							else indexes[currentScreen]++;
						break;

						case pantallaSubMenuSelVelocidadColFil:
							if(indexes[cont_item_SubMenuSelVelCol] >= 3) indexes[cont_item_PrinMenu] = 3;
							else	indexes[cont_item_SubMenuSelVelCol]++;
						break;

						case pantallaSubMenuAlarmas:
							if(indexes[currentScreen] == (cantItemsSubMenuAlarmas - 1)) indexes[currentScreen] = cantItemsSubMenuAlarmas - 1;
							else indexes[currentScreen]++;
						break;

						case pantallaSubMenuHistorial:
							if(indexes[currentScreen] == (cantItemsSubMenuHistorial - 1)) indexes[currentScreen] = cantItemsSubMenuHistorial - 1;
							else indexes[currentScreen]++;
						break;

						case pantallaSubMenuAcercaDe_part1: currentScreen = pantallaSubMenuAcercaDe_part2;
						break;

						case pantallaSubmenuSetTempExt:	//menu seteo de temperatura COLECTORES
							if(_petFilConv -> setExtTemp == 250) _petFilConv -> setExtTemp = 250;
							else _petFilConv -> setExtTemp++;	//Temp++
						break;
					}
				break;
		}

		btnPressed = NoPressed;
	}
}
*/

void updateLCD(PETfilConv *_petFilConv , uint32_t *currentScreen)
{
	static uint32_t previousScreen;

	char *prinMenu1[] = {
	    "Pantalla Principal ",
	    "Extrusores         ",
	    "Colectores fil.    ",
	    "Alarmas            "
	};

	char *prinMenu2[] = {
	    "Historial          ",
	    "Acerca de...       ",
	    "                   ",
		"                   "
	};

	char *subMenuExtrusores[] = {
	    "Volver...          ",
	    "Extrusor 1         ",
		"                   ",
		"                   "
	};

	char *subMenuColectores[] = {
	    "Volver...          ",
	    "Colector fil 1     ",
		"                   ",
		"                   "
	};

	char *subMenuAlarmas[] = {
	    "Volver...          ",
	    "Luminica           ",
	    "Sonora             ",
		"                   "
	};

	char *subMenuHistorial[] = {
	    "Volver...          ",
	    "Extrusor 1         ",
	    "Borrar historial   ",
		"                   "
	};

	char *subMenuAcercaDe1[] = {
	    " Proyecto final de  ",
	    "       Esp. en      ",
	    " Sistemas Embebidos ",
		"    LSE - FiUBA     "
	};

	char *subMenuAcercaDe2[] = {
	    "    Ing. Nicolas    ",
	    "    Vargas Alice    ",
		"                    ",
		"        2022        "
	};

	char *subMenuSelVelocidadColec[] = {
	    "Apagado            ",
	    "300 mm/min         ",
		"400 mm/min         ",
		"500 mm/min         "
	};

	if(*currentScreen != previousScreen) //si la pantalla actual es distinto a la anterior o si la pantalla actual es la de seteo de temp de extrusor
	{
		previousScreen = *currentScreen;

		switch(*currentScreen)
		{
			case pantallaWorkingScreen: printscreenWorking(_petFilConv);
			break;

			case pantallaMainMenu_part1: printScreen(prinMenu1);
			break;

			case pantallaMainMenu_part2: printScreen(prinMenu2);
			break;

			case pantallaSubMenuExtrusores: printScreen(subMenuExtrusores);
			break;

			case pantallaSubMenuColectoresFil: printScreen(subMenuColectores);
			break;

			case pantallaSubMenuAlarmas: printScreen(subMenuAlarmas);
			break;

			case pantallaSubMenuHistorial: printScreen(subMenuHistorial);
			break;

			case pantallaSubMenuAcercaDe_part1: printScreen(subMenuAcercaDe1);
			break;

			case pantallaSubMenuAcercaDe_part2: printScreen(subMenuAcercaDe2);
			break;

			case pantallaSubmenuSetTempExt: printScreenSettingTemp(_petFilConv);
			break;

			case pantallaSubMenuSelVelocidadColFil: printScreen(subMenuSelVelocidadColec);
			break;

			default: break;
		}
	}

	if((_petFilConv -> previousSetExtTemp != _petFilConv -> setExtTemp) && (*currentScreen == pantallaSubmenuSetTempExt))
	{
		printSettingTemp(_petFilConv);
	}
}

/*
void updateLCD(PETfilConv *_petFilConv)
{

	if(currentScreen != previousScreen) //si la pantalla actual es distinto a la anterior o si la pantalla actual es la de seteo de temp de extrusor
	{
//		previousScreen = currentScreen;

		switch(currentScreen)
		{
			case pantallaWorkingScreen: printscreenWorking(_petFilConv);
			break;

			case pantallaMainMenu_part1: printScreen(prinMenu1);
			break;

			case pantallaMainMenu_part2: printScreen(prinMenu2);
			break;

			case pantallaSubMenuExtrusores: printScreen(subMenuExtrusores);
			break;

			case pantallaSubMenuColectoresFil: printScreen(subMenuColectores);
			break;

			case pantallaSubMenuAlarmas: printScreen(subMenuAlarmas);
			break;

			case pantallaSubMenuHistorial: printScreen(subMenuHistorial);
			break;

			case pantallaSubMenuAcercaDe_part1: printScreen(subMenuAcercaDe1);
			break;

			case pantallaSubMenuAcercaDe_part2: printScreen(subMenuAcercaDe2);
			break;

			case pantallaSubmenuSetTempExt: printScreenSettingTemp(_petFilConv ->setExtTemp);
			break;

			case pantallaSubMenuSelVelocidadColFil: printScreen(subMenuSelVelocidadColec);
			break;
		}
	}

	if((_petFilConv -> setExtTemp != previousSetTempExt) && (currentScreen == pantallaSubmenuSetTempExt))
	{
		previousSetTempExt = _petFilConv -> setExtTemp;
		printSettingTemp(_petFilConv ->setExtTemp);
	}
}

*/

void printScreenSettingTemp(PETfilConv *_petFilConv)
{
	int reg_lines[LINES] = {
					0x80|0x00,
					0x80|0x40,
					0x80|0x14,
					0x80|0x54
				};

	char *subMenuSelTemp[] = {
	    "Elegir T trabajo:   ",
		"                    ",
		"      / 250 C (Max.)",
		"                    "
	};

	char aux[20];

	clearScreen();
	lcd_send_cmd(reg_lines[0]);
	lcd_send_string(subMenuSelTemp[0]);
	lcd_send_cmd(reg_lines[2]);
	sprintf(aux,"%lu C / 250 C(Max.)",_petFilConv -> previousSetExtTemp);
	lcd_send_string(aux);
}

void printSettingTemp(PETfilConv *_petFilConv)
{
	char aux[3];
	int reg_lines[LINES] = {
					0x80|0x00,
					0x80|0x40,
					0x80|0x14,
					0x80|0x54
				};

	lcd_send_cmd(reg_lines[2]);
	sprintf(aux,"%lu C",_petFilConv -> previousSetExtTemp);
	lcd_send_string(aux);
}

void printscreenWorking(PETfilConv *_petFilConv)
{
	int reg_lines[LINES] = {
					0x80|0x00,
					0x80|0x40,
					0x80|0x14,
					0x80|0x54
				};
	int dir_Al = 0x80|0x20;
/*
	char *screenWorking[] = {
	    "   T act / T trab  ",
		"                   ",
		"                   ",
	    "                   "
	};

	char aux[20];

	clearScreen();
	lcd_send_cmd(reg_lines[0]);
	lcd_send_string(screenWorking[0]);
	lcd_send_cmd(reg_lines[2]);
	sprintf(aux," %lu C  / %lu C   ",_petFilConv -> currentExtTemp ,_petFilConv -> setExtTemp);
	lcd_send_string(aux);
*/
	char aux[20];
	char aux2[5] = "COL1:";
	char aux3[4] = "AL:";

	clearScreen();
	lcd_send_cmd(reg_lines[0]);
	sprintf(aux,"EXT1: %lu / %lu C  ",_petFilConv -> currentExtTemp ,_petFilConv -> setExtTemp);
	lcd_send_string(aux);
	lcd_send_cmd(reg_lines[2]);
	lcd_send_string(aux2);
	lcd_send_cmd(dir_Al);
	lcd_send_string(aux3);
}

void printCurrentTemp(PETfilConv *_petFilConv)
{

	int reg_lines[LINES] = {
					0x80|0x00,
					0x80|0x40,
					0x80|0x14,
					0x80|0x54
				};
/*
	char aux[20];
	lcd_send_cmd(reg_lines[2]);
	sprintf(aux," %lu C  / %lu C   ",_petFilConv -> currentExtTemp ,_petFilConv -> setExtTemp);
	lcd_send_string(aux);
*/
	char aux[20];
	lcd_send_cmd(reg_lines[0]);
	sprintf(aux,"EXT1: %lu / %lu C  ",_petFilConv -> currentExtTemp ,_petFilConv -> setExtTemp);
	lcd_send_string(aux);
}

void updateCursor(uint32_t *_indexes , PETfilConv *_petFilConv , uint32_t *currentScreen , uint32_t *_vel_col)
{
	  clearAllCursor();

	switch(*currentScreen)
	{
		case pantallaMainMenu_part1: printCursor(_indexes[cont_item_PrinMenu]);
		break;

		case pantallaMainMenu_part2: printCursor(_indexes[cont_item_PrinMenu]);
		break;

		case pantallaSubMenuExtrusores: printCursor(_indexes[cont_item_SubMenuExtrusores]);
		break;

		case pantallaSubMenuColectoresFil:	printCursor(_indexes[cont_item_SubMenuColectores]);
		break;

		case pantallaSubMenuAlarmas:
			printCursor(_indexes[cont_item_SubMenuAlarmas]);
			if(_petFilConv -> lightAlarm_state == true)
			{
				lcd_send_cmd(XC_LINE2_LCD);
				lcd_send_string("X");
			}
			else
			{
				lcd_send_cmd(XC_LINE2_LCD);
				lcd_send_string(" ");
			}

			if(_petFilConv -> soundAlarm_state == true)
			{
				lcd_send_cmd(XC_LINE3_LCD);
				lcd_send_string("X");
			}
			else
			{
				lcd_send_cmd(XC_LINE3_LCD);
				lcd_send_string(" ");
			}
		break;

		case pantallaSubMenuHistorial: printCursor(_indexes[cont_item_SubMenuHistorial]);
		break;

		case pantallaSubMenuSelVelocidadColFil:
			printCursor(_indexes[cont_item_SubMenuSelVelCol]);
			if(*_vel_col == APAGADO)	printX(1);
			else if(*_vel_col == VELOCIDAD_1)	printX(2);
			else if(*_vel_col == VELOCIDAD_2)	printX(3);
			else if(*_vel_col == VELOCIDAD_3)	printX(4);
		break;

		default: break;
	}
}

/*
void updateCursor(void)
{
  if(
		(previousIndexes[cont_item_PrinMenu] != indexes[cont_item_PrinMenu])||	//cambio indice en menu principal?
		(previousIndexes[cont_item_SubMenuExtrusores] != indexes[cont_item_SubMenuExtrusores])||	//cambio indice en submenu Extrusores?
		(previousIndexes[cont_item_SubMenuColectores] != indexes[cont_item_SubMenuColectores])||	//cambio indice en submenu Colectores?
		(previousIndexes[cont_item_SubMenuAlarmas] != indexes[cont_item_SubMenuAlarmas])||	//cambio indice en submenu Alarmas?
		(previousIndexes[cont_item_SubMenuHistorial] != indexes[cont_item_SubMenuHistorial])||	//cambio indice en submenu Historial?
		(previousIndexes[cont_item_SubMenuAcercaDe] != indexes[cont_item_SubMenuAcercaDe])||	//cambio indice en submenu Acerca De...?
		(previousIndexes[cont_item_SubMenuSelVelCol] != indexes[cont_item_SubMenuSelVelCol])||	//cambio indice en submenu Seleccion de velocidad colector?
		(previousScreen != currentScreen)||		//cambio de pantalla?
		changeAlarms == true
	)
  {
	  previousScreen = currentScreen;
	  for(int i = 1 ; i < n_pantallas; i++) previousIndexes[i] = indexes[i];

	  clearAllCursor();

	switch(currentScreen)
	{
//		case pantallaWorkingScreen:	//NO MUESTRA CURSOR
//		break;

		case pantallaMainMenu_part1: printCursor(indexes[cont_item_PrinMenu]);
		break;

		case pantallaMainMenu_part2: printCursor(indexes[cont_item_PrinMenu]);
		break;

		case pantallaSubMenuExtrusores: printCursor(indexes[cont_item_SubMenuExtrusores]);
		break;

		case pantallaSubMenuColectoresFil:	printCursor(indexes[cont_item_SubMenuColectores]);
		break;

		case pantallaSubMenuAlarmas:
			printCursor(indexes[cont_item_SubMenuAlarmas]);
			if(PETfilConv1.lightAlarm_state == true)
			{
				lcd_send_cmd(XC_LINE2_LCD);
				lcd_send_string("X");
			}
			else
			{
				lcd_send_cmd(XC_LINE2_LCD);
				lcd_send_string(" ");
			}

			if(PETfilConv1.soundAlarm_state == true)
			{
				lcd_send_cmd(XC_LINE3_LCD);
				lcd_send_string("X");
			}
			else
			{
				lcd_send_cmd(XC_LINE3_LCD);
				lcd_send_string(" ");
			}

			changeAlarms = false;
		break;

		case pantallaSubMenuHistorial: printCursor(indexes[cont_item_SubMenuHistorial]);
		break;

		case pantallaSubMenuSelVelocidadColFil:
			printCursor(indexes[cont_item_SubMenuSelVelCol]);
			if(PETfilConv1.velocidad_Col == APAGADO)	printX(1);
			else if(PETfilConv1.velocidad_Col == VELOCIDAD_1)	printX(2);
			else if(PETfilConv1.velocidad_Col == VELOCIDAD_2)	printX(3);
			else if(PETfilConv1.velocidad_Col == VELOCIDAD_3)	printX(4);
		break;

//		case pantallaSubMenuAcercaDe_part1: //NO MUESTRA CURSOR
//		break;

//		case pantallaSubmenuSetTempExt: //NO MUESTRA CURSOR
//		break;
		default: break;
	}
  }
}
*/

void printX(uint8_t i)
{
	lcd_send_cmd(XC_LINE1_LCD);
	lcd_send_string(" ");
	lcd_send_cmd(XC_LINE2_LCD);
	lcd_send_string(" ");
	lcd_send_cmd(XC_LINE3_LCD);
	lcd_send_string(" ");
	lcd_send_cmd(XC_LINE4_LCD);
	lcd_send_string(" ");

	if(i == 1)	lcd_send_cmd(XC_LINE1_LCD);
	else if(i == 2)	lcd_send_cmd(XC_LINE2_LCD);
	else if(i == 3)	lcd_send_cmd(XC_LINE3_LCD);
	else if(i == 4)	lcd_send_cmd(XC_LINE4_LCD);
	lcd_send_string("X");
}

void printCursor(uint8_t index)
{
	char *cursor[] = {">"};

	switch(index)
	{
		case 0:	lcd_send_cmd(C_LINE1_LCD);	//primera linea
		break;

		case 1:	lcd_send_cmd(C_LINE2_LCD);	//segunda linea
		break;

		case 2:	lcd_send_cmd(C_LINE3_LCD);	//tercera linea
		break;

		case 3:	lcd_send_cmd(C_LINE4_LCD);	//cuarta linea
		break;

		case 4:	lcd_send_cmd(C_LINE1_LCD);	//primer linea
			break;

		case 5:	lcd_send_cmd(C_LINE2_LCD);	//segunda linea
			break;

		case 6:	lcd_send_cmd(C_LINE3_LCD);	//tercera linea
			break;

		default: break;
	}

	lcd_send_string(cursor[0]);
}

void clearAllCursor(void)
{
	char *char_vacio[] = {" "};

	lcd_send_cmd(C_LINE1_LCD);	//primer linea
	lcd_send_string(char_vacio[0]);
	lcd_send_cmd(C_LINE2_LCD);	//segunda linea
	lcd_send_string(char_vacio[0]);
	lcd_send_cmd(C_LINE3_LCD);	//tercera linea
	lcd_send_string(char_vacio[0]);
	lcd_send_cmd(C_LINE4_LCD);	//cuarta linea
	lcd_send_string(char_vacio[0]);
}

void printScreen(char *screen[])
{
	int reg_lines[LINES] = {
					0x80|0x00,
					0x80|0x40,
					0x80|0x14,
					0x80|0x54
				};

	clearScreen();
	  for(int i = 0 ; i < LINES ; i++)
	  {
		  lcd_send_cmd(reg_lines[i]);
		  lcd_send_string(screen[i]);
	  }
}

void clearScreen(void)
{
	  lcd_send_cmd (CLEAR_LCD);  // clear display
	  HAL_Delay(100);
}

// *********** funciones para manejo de MOTOR 1 *****************

void ControlMotor(PETfilConv *_petFilConv)
{
	if(_petFilConv -> col_state)	HAL_GPIO_WritePin(GPIOA, RESET_MOTOR1_Pin, GPIO_PIN_SET);	//si RESET_MOTOR == 1, el motor se habilita
	else						HAL_GPIO_WritePin(GPIOA, RESET_MOTOR1_Pin, GPIO_PIN_RESET);	//si RESET_MOTOR == 0, el motor se deshabilita
}

void HAL_TIM_PeriodElapsedCallback(TIM_HandleTypeDef *htim)
{
	static uint8_t previousVel_Col1 = APAGADO;

	//Fclk = 56MHz / prescaler = 56000-1 / autoreload = 5-1 (VELOCIDAD 3: 500 mm/min)
	//Fclk = 56MHz / prescaler = 56000-1 / autoreload = 6-1 (VELOCIDAD 2: 400 mm/min)
	//Fclk = 56MHz / prescaler = 56000-1 / autoreload = 7-1 (VELOCIDAD 1: 300 mm/min)

	if(htim->Instance == TIM2)
	{
		if(g_velocidad_Col1 != previousVel_Col1)
		{
			switch(g_velocidad_Col1)
			{
				case VELOCIDAD_1:
					HAL_TIM_Base_Stop_IT(htim);
					__HAL_TIM_SET_COUNTER(htim, 0);
					__HAL_TIM_SET_AUTORELOAD(htim, 7-1);
					HAL_TIM_Base_Start_IT(htim);
					break;
				case VELOCIDAD_2:
					HAL_TIM_Base_Stop_IT(htim);
					__HAL_TIM_SET_COUNTER(htim, 0);
					__HAL_TIM_SET_AUTORELOAD(htim, 6-1);
					HAL_TIM_Base_Start_IT(htim);
					break;
				case VELOCIDAD_3:
					HAL_TIM_Base_Stop_IT(htim);
					__HAL_TIM_SET_COUNTER(htim, 0);
					__HAL_TIM_SET_AUTORELOAD(htim, 5-1);
					HAL_TIM_Base_Start_IT(htim);
					break;

				default: break;
			}

			previousVel_Col1 = g_velocidad_Col1;
		}

		HAL_GPIO_TogglePin(GPIOA, PASOS_MOTOR1_Pin);
	}
}

// *********** funciones para manejo de PID 1 *****************

float_t getTemp(void)
{
	//	float_t termistorRes = 0;
	//	float_t steinhart = 0;
		static float_t factor_cor2 = 10;
		static float_t Temp_C = 0;
		float_t adc_val_average = 0;
		uint32_t adc_val = 0;

		for(uint8_t i = 0 ; i < N_SAMPLES_ADC ; i++)
		{
			HAL_ADC_Start_DMA(&hadc1, &adc_val, 1);	//star in DMA mode and we are reading only 1 channel or 1 word
			adc_val_average += adc_val;
		}
		adc_val_average = adc_val_average/N_SAMPLES_ADC;	//promedio

	/*
		termistorRes = (adc_val_average * 3.3)/(4095 - adc_val_average);
		steinhart = termistorRes / termistorNominalRes;
		steinhart = log(steinhart);
		steinhart /= termistorBValue;
		steinhart += 1.0 / (termistorNominalTemp + 273.15);
		steinhart = 1.0 / steinhart;
		steinhart -= 273.15;

		return	steinhart;

			Vout = adc_val_average * (3.3/4095);
			R_NTC = (Vout * 100000) / (Vsupply - Vout);
			Temp_K = (T0 * B_param) / (T0 * log(R_NTC / 130000) + B_param);
			Temp_C = Temp_K - 273.15;
			return	Temp_C;
	*/

			while(tempNTC100K[i].adc < adc_val_average) i++;

			if(i == NUMTEMPS)	Temp_C = tempNTC100K[i-1].temp;
			else if(i == 0) Temp_C = tempNTC100K[i].temp;
			else
			{
				Temp_C = tempNTC100K[i-1].temp + (adc_val_average - tempNTC100K[i-1].adc) * (float)(tempNTC100K[i].temp - tempNTC100K[i-1].temp) / (float)(tempNTC100K[i].adc - tempNTC100K[i-1].adc);

				//aux = (tempNTC100K[i].temp - tempNTC100K[i-1].temp) / ( tempNTC100K[i].adc - tempNTC100K[i-1].adc);
				//tempC = aux * (adc_val - tempNTC100K[i].adc) + tempNTC100K[i].temp;
			}

			//tempCint = (uint32_t)Temp_C;
			return	(Temp_C - factor_cor2);
}

void Control_ON_OFF(PETfilConv *_petFilConv)
{
	static uint32_t previousTemp = 0;
	//static uint32_t PID_value = 0;
	//char aux[10];

	_petFilConv -> currentExtTemp = (uint32_t)getTemp();

	if(previousTemp != _petFilConv -> currentExtTemp)
	{
		previousTemp = _petFilConv -> currentExtTemp;
		if((_petFilConv -> currentExtTemp) < ((_petFilConv -> setExtTemp) - 3))	HAL_GPIO_WritePin(GPIOB, CALENTADOR1_Pin, GPIO_PIN_RESET); //PID_value = 255;
		else	HAL_GPIO_WritePin(GPIOB, CALENTADOR1_Pin, GPIO_PIN_SET);	//PID_value = 0;
		//htim1.Instance->CCR1 = 255 - PID_value;
		//updateLCD();
//		lcd_send_cmd(0x80|0x54);
//		sprintf(aux," %lu C     ",PID_value);
//		lcd_send_string(aux);
	}
}

/*
void controlPID(PETfilConv *_petFilConv)
{
	float_t PID_value;
	float_t temperature_read = getTemp();  //esta variable vendria a ser la que guarda el resultado de getTemp()

	//tempConv = (uint32_t)temperature_read;
	_petFilConv -> currentExtTemp = (uint32_t)temperature_read;
//	updateLCD();

	//PID_error = set_temperature - temperature_read; //Next we calculate the error between the setpoint and the real value
	//PID_error = set_temperature - temperature_read + factor_cor; //Next we calculate the error between the setpoint and the real value. Este "20" se debe a una corrección que tengo que hacer para que mida bien.
	_petFilConv -> PID_error = _petFilConv -> setExtTemp - temperature_read + _petFilConv -> factor_cor; //Next we calculate the error between the setpoint and the real value. Este "20" se debe a una corrección que tengo que hacer para que mida bien.
	_petFilConv -> PID_p = kp * (_petFilConv -> PID_error);   //Calculate the P value
	//PID_p = 0.01 * kp * PID_error;   //Calculate the P value
	if((-3 < _petFilConv -> PID_error ) && ( _petFilConv -> PID_error < 3 ))
	{
		//PID_i = PID_i + (ki * PID_error); //Calculate the I value in a range on +-3
		_petFilConv -> PID_i = _petFilConv -> PID_i + (ki * (_petFilConv -> PID_error)); //Calculate the I value in a range on +-3
		//PID_i = 0.01 * PID_i + (ki * PID_error); //Calculate the I value in a range on +-3
	}

	//For derivative we need real time to calculate speed change rate
	_petFilConv -> timePrev = _petFilConv -> time; // the previous time is stored before the actual time read
	_petFilConv -> time = HAL_GetTick();	// actual time read
	_petFilConv -> elapsedTime = (_petFilConv -> time - _petFilConv -> timePrev) / 1000;
	//PID_d = kd * ((PID_error - previous_error)/elapsedTime); //Now we can calculate the D value
	_petFilConv -> PID_d = kd * ((_petFilConv -> PID_error - _petFilConv -> previous_error)/_petFilConv -> elapsedTime); //Now we can calculate the D value
	//PID_d = 0.01 * kd * ((PID_error - previous_error)/elapsedTime); //Now we can calculate the D value
	PID_value =(uint32_t)(_petFilConv -> PID_p + _petFilConv -> PID_i + _petFilConv -> PID_d); //Final total PID value is the sum of P + I + D

	//We define PWM range between 0 and 255
	if(PID_value < 0) PID_value = 0;
	else if(PID_value > 255)  PID_value = 255;
	//updateLCD();
	//Now we can write the PWM signal to the mosfet on digital pin. the mosfet is activated with a LOW value
	htim1.Instance->CCR1 = 255 - PID_value;
	//ESCRIBE EL VALOR DEL PWM

	_petFilConv -> previous_error = _petFilConv -> PID_error;     //Remember to store the previous error for next loop.
}
*/

/* USER CODE END 4 */

void Error_Handler(void)
{
  __disable_irq();
  while (1)
  {
  }
}

/************************ (C) COPYRIGHT STMicroelectronics *****END OF FILE****/
